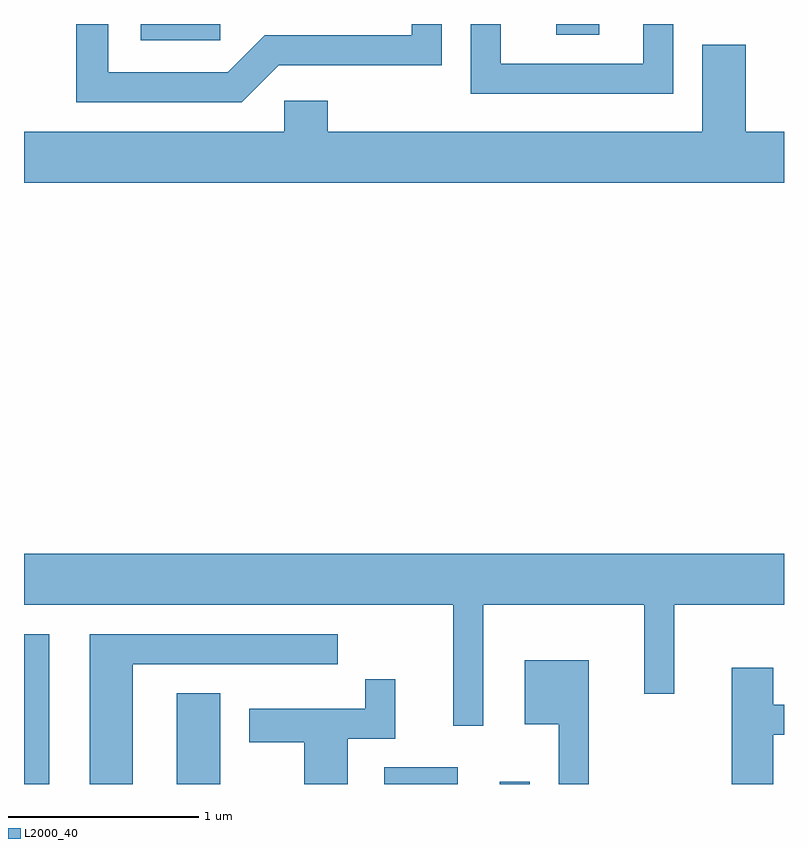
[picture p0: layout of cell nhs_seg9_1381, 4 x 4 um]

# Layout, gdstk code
import gdstk
lib = gdstk.Library(unit=1e-6, precision=1e-09)
def R(c, l, rs):  # rectangles x0, y0, x1, y1
    for r in rs: c.add(gdstk.rectangle(r[:2], r[2:], *l))
def P(c, l, *ps):  # polygons
    for p in ps: c.add(gdstk.Polygon(p, *l))
L2000_40 = (2000, 40)

nhs_seg9_1381 = lib.new_cell('nhs_seg9_1381')
R(nhs_seg9_1381, L2000_40, [(225.611,1986.432,225.744,1987.219), (226.416,1986.432,226.644,1986.909), (227.506,1986.432,227.894,1986.519), (228.116,1986.432,228.274,1986.443), (226.226,1990.346,226.643,1990.432), (228.411,1990.376,228.639,1990.432)])
P(nhs_seg9_1381, L2000_40, [(229.029,1990.432),(228.871,1990.432),(228.871,1990.224),(228.119,1990.224),(228.119,1990.432),(227.961,1990.432),(227.961,1990.066),(229.029,1990.066)],
  [(226.952,1990.216),(227.809,1990.216),(227.809,1990.432),(227.651,1990.432),(227.651,1990.374),(226.879,1990.374),(226.684,1990.179),(226.054,1990.179),(226.054,1990.432),(225.886,1990.432),(225.886,1990.021),(226.757,1990.021)],
  [(229.611,1989.864),(229.409,1989.864),(229.409,1990.324),(229.181,1990.324),(229.181,1989.864),(227.209,1989.864),(227.209,1990.029),(226.981,1990.029),(226.981,1989.864),(225.611,1989.864),(225.611,1989.596),(229.611,1989.596)],
  [(228.029,1987.376),(228.876,1987.376),(228.876,1986.908),(229.034,1986.908),(229.034,1987.376),(229.611,1987.376),(229.611,1987.644),(225.611,1987.644),(225.611,1987.376),(227.871,1987.376),(227.871,1986.738),(228.029,1986.738)],
  [(226.184,1987.061),(227.263,1987.061),(227.263,1987.219),(225.956,1987.219),(225.956,1986.432),(226.184,1986.432)],
  [(228.584,1987.084),(228.246,1987.084),(228.246,1986.746),(228.426,1986.746),(228.426,1986.432),(228.584,1986.432)],
  [(229.554,1986.691),(229.611,1986.691),(229.611,1986.849),(229.554,1986.849),(229.554,1987.044),(229.336,1987.044),(229.336,1986.432),(229.554,1986.432)],
  [(227.314,1986.671),(227.564,1986.671),(227.564,1986.983),(227.406,1986.983),(227.406,1986.829),(226.796,1986.829),(226.796,1986.651),(227.086,1986.651),(227.086,1986.432),(227.314,1986.432)])

lib.write_gds('nhs_seg9_1381.gds')
